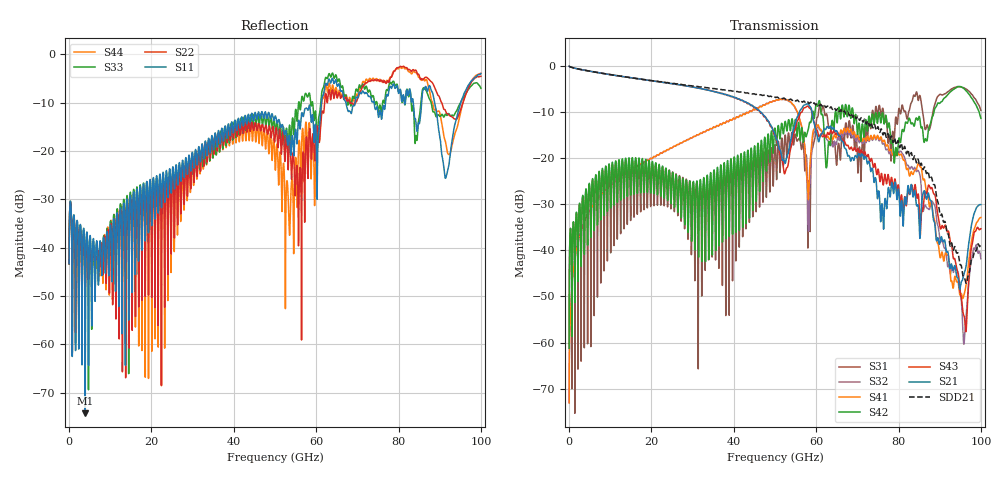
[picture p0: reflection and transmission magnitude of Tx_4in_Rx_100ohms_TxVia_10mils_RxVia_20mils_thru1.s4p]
! Info: Touchstone file created by Circ.  Input file=Tx_4in_Rx_100ohms_TxVia_10mils_RxVia_20mils.circ
# Hz S RI R 50
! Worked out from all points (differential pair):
!   10000 points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, 10 MHz to 100 GHz, reference 50 ohm
!   strongest paths, dB at 10 MHz, 25.01 GHz, 50.01 GHz, 75.01 GHz, 100 GHz:
!     S21: -0.1, -3.9, -14.9, -27.9, -30.1
!     S43: -0.1, -3.9, -14.9, -22.4, -35.3
!     S42: -61.2, -24.3, -13.5, -11.6, -11.4
!     S41: -73.1, -17.8, -7.6, -15.2, -32.9
!     S32: -73.1, -17.8, -7.6, -15.5, -41.8
!     S31: -61.2, -23.9, -17.1, -10.5, -9.6
!   taken as a pair (ports 1,3 in; 2,4 out), SDD21 dB: -0.1, -3.8, -6.8, -13.2, -38.6
!   lowest |S11| = -74.3 dB at 3.93 GHz (marker M1), VSWR 1.00, Z = 50 - j0.00165 ohm
!   |S11| at or under -10 dB: start of sweep to 61.29 GHz; 74.09 GHz to 76.82 GHz (2.726 GHz wide, 3.61 % of centre); 88.75 GHz to 95.09 GHz (6.342 GHz wide, 6.9 % of centre)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
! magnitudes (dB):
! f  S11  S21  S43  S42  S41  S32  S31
! 10 MHz  -43.3  -0.1  -0.1  -61.2  -73.1  -73.1  -61.2
! 3.93 GHz  -74.3  -1.0  -1.0  -29.0  -33.2  -33.3  -29.3
! 51.97 GHz  -15.0  -20.4  -21.7  -14.5  -7.2  -7.3  -20.4
! 87.73 GHz  -6.8  -29.2  -26.6  -12.6  -29.7  -30.4  -13.2
! 91.55 GHz  -25.4  -39.9  -35.0  -6.6  -40.7  -40.4  -5.9
! 96.13 GHz  -7.7  -44.5  -55.6  -5.1  -48.8  -57.6  -4.9
! 100 GHz  -4.0  -30.1  -35.3  -11.4  -32.9  -41.8  -9.6
